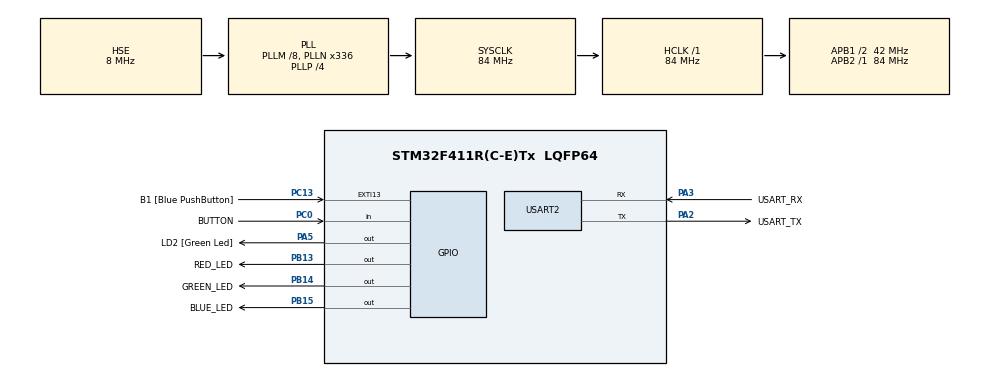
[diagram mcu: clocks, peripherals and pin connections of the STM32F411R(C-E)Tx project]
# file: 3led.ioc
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Mcu.Family=STM32F4
Mcu.Name=STM32F411R(C-E)Tx
Mcu.Package=LQFP64
NVIC.PriorityGroup=NVIC_PRIORITYGROUP_0
PA13.GPIO_Label=TMS
PA13.Mode=Serial_Wire
PA13.Signal=SYS_JTMS-SWDIO
PA14.GPIO_Label=TCK
PA14.Mode=Serial_Wire
PA14.Signal=SYS_JTCK-SWCLK
PA2.GPIO_Label=USART_TX
PA2.Mode=Asynchronous
PA2.Signal=USART2_TX
PA3.GPIO_Label=USART_RX
PA3.Mode=Asynchronous
PA3.Signal=USART2_RX
PA5.GPIO_Label=LD2 [Green Led]
PA5.Signal=GPIO_Output
PB13.GPIO_Label=RED_LED
PB13.PinState=GPIO_PIN_RESET
PB13.Signal=GPIO_Output
PB14.GPIO_Label=GREEN_LED
PB14.PinState=GPIO_PIN_RESET
PB14.Signal=GPIO_Output
PB15.GPIO_Label=BLUE_LED
PB15.PinState=GPIO_PIN_RESET
PB15.Signal=GPIO_Output
PB3.GPIO_Label=SWO
PB3.Signal=SYS_JTDO-SWO
PC0.GPIO_Label=BUTTON
PC0.Signal=GPIO_Input
PC13-ANTI_TAMP.GPIO_Label=B1 [Blue PushButton]
PC13-ANTI_TAMP.GPIO_ModeDefaultEXTI=GPIO_MODE_IT_FALLING
PC13-ANTI_TAMP.Signal=GPXTI13
PC14-OSC32_IN.Mode=LSE-External-Oscillator
PC14-OSC32_IN.Signal=RCC_OSC32_IN
PC15-OSC32_OUT.Mode=LSE-External-Oscillator
PC15-OSC32_OUT.Signal=RCC_OSC32_OUT
PH0\ -\ OSC_IN.Mode=HSE-External-Clock-Source
PH0\ -\ OSC_IN.Signal=RCC_OSC_IN
PH1\ -\ OSC_OUT.Mode=HSE-External-Clock-Source
PH1\ -\ OSC_OUT.Signal=RCC_OSC_OUT
ProjectManager.HeapSize=0x200
ProjectManager.StackSize=0x400
ProjectManager.TargetToolchain=STM32CubeIDE
RCC.48MHZClocksFreq_Value=84000000
RCC.AHBFreq_Value=84000000
RCC.APB1CLKDivider=RCC_HCLK_DIV2
RCC.APB1Freq_Value=42000000
RCC.APB1TimFreq_Value=84000000
RCC.APB2Freq_Value=84000000
RCC.APB2TimFreq_Value=84000000
RCC.CortexFreq_Value=84000000
RCC.FLatency-AdvancedSettings=FLASH_LATENCY_2
RCC.HCLKFreq_Value=84000000
RCC.HSE_VALUE=8000000
RCC.HSI_VALUE=16000000
RCC.PLLM=8
RCC.PLLN=336
RCC.PLLP=RCC_PLLP_DIV4
RCC.PLLSourceVirtual=RCC_PLLSOURCE_HSE
RCC.SYSCLKFreq_VALUE=84000000
RCC.SYSCLKSource=RCC_SYSCLKSOURCE_PLLCLK
RCC.VCOOutputFreq_Value=336000000
USART2.VirtualMode=VM_ASYNC
board=NUCLEO-F411RE

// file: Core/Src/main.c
/* USER CODE BEGIN Header */
/**
  ******************************************************************************
  * @file           : main.c
  * @brief          : Main program body
  ******************************************************************************
  * @attention
  *
  * Copyright (c) 2025 STMicroelectronics.
  * All rights reserved.
  *
  * This software is licensed under terms that can be found in the LICENSE file
  * in the root directory of this software component.
  * If no LICENSE file comes with this software, it is provided AS-IS.
  *
  ******************************************************************************
  */
/* USER CODE END Header */
#include "main.h"

/* USER CODE BEGIN Includes */
#include <stdio.h>
/* USER CODE END Includes */

/* USER CODE BEGIN PD */
uint8_t state;
#ifdef __GNUC__
/* With GCC, small printf (option LD Linker->Libraries->Small printf
   set to 'Yes') calls __io_putchar() */
#define PUTCHAR_PROTOTYPE int __io_putchar(int ch)
#else
#define PUTCHAR_PROTOTYPE int fputc(int ch, FILE *f)
#endif /* __GNUC__ */
/* USER CODE END PD */

UART_HandleTypeDef huart2;

void SystemClock_Config(void);
static void MX_GPIO_Init(void);
static void MX_USART2_UART_Init(void);

int main(void)
{

  /* MCU Configuration--------------------------------------------------------*/

  /* Reset of all peripherals, Initializes the Flash interface and the Systick. */
  HAL_Init();

  /* Configure the system clock */
  SystemClock_Config();

  /* Initialize all configured peripherals */
  MX_GPIO_Init();
  MX_USART2_UART_Init();

  /* Infinite loop */
  /* USER CODE BEGIN WHILE */
  while (1)
  {
	  if (HAL_GPIO_ReadPin(BUTTON_GPIO_Port,BUTTON_Pin))
	  {
		  state++;
		  state= state%3;
	  }
	  printf("%d/r/n",state);
	  switch(state)
	  {
	  case 0:
		  HAL_GPIO_WritePin(RED_LED_GPIO_Port,RED_LED_Pin,GPIO_PIN_SET);
		  HAL_GPIO_WritePin(BLUE_LED_GPIO_Port,BLUE_LED_Pin,GPIO_PIN_RESET);
		  break;
	  case 1:
		  HAL_GPIO_WritePin(GREEN_LED_GPIO_Port,GREEN_LED_Pin,GPIO_PIN_SET);
		  HAL_GPIO_WritePin(RED_LED_GPIO_Port,RED_LED_Pin,GPIO_PIN_RESET);
		  break;
	  case 2:
		  HAL_GPIO_WritePin(BLUE_LED_GPIO_Port,BLUE_LED_Pin,GPIO_PIN_SET);
		  HAL_GPIO_WritePin(GREEN_LED_GPIO_Port,GREEN_LED_Pin,GPIO_PIN_RESET);
		  break;
	  }
    /* USER CODE END WHILE */

  }
}

void SystemClock_Config(void)
{
  RCC_OscInitTypeDef RCC_OscInitStruct = {0};
  RCC_ClkInitTypeDef RCC_ClkInitStruct = {0};

  /** Configure the main internal regulator output voltage
  */
  __HAL_RCC_PWR_CLK_ENABLE();
  __HAL_PWR_VOLTAGESCALING_CONFIG(PWR_REGULATOR_VOLTAGE_SCALE1);

  /** Initializes the RCC Oscillators according to the specified parameters
  * in the RCC_OscInitTypeDef structure.
  */
  RCC_OscInitStruct.OscillatorType = RCC_OSCILLATORTYPE_HSE;
  RCC_OscInitStruct.HSEState = RCC_HSE_BYPASS;
  RCC_OscInitStruct.PLL.PLLState = RCC_PLL_ON;
  RCC_OscInitStruct.PLL.PLLSource = RCC_PLLSOURCE_HSE;
  RCC_OscInitStruct.PLL.PLLM = 8;
  RCC_OscInitStruct.PLL.PLLN = 336;
  RCC_OscInitStruct.PLL.PLLP = RCC_PLLP_DIV4;
  RCC_OscInitStruct.PLL.PLLQ = 4;
  if (HAL_RCC_OscConfig(&RCC_OscInitStruct) != HAL_OK)
  {
    Error_Handler();
  }

  /** Initializes the CPU, AHB and APB buses clocks
  */
  RCC_ClkInitStruct.ClockType = RCC_CLOCKTYPE_HCLK|RCC_CLOCKTYPE_SYSCLK
                              |RCC_CLOCKTYPE_PCLK1|RCC_CLOCKTYPE_PCLK2;
  RCC_ClkInitStruct.SYSCLKSource = RCC_SYSCLKSOURCE_PLLCLK;
  RCC_ClkInitStruct.AHBCLKDivider = RCC_SYSCLK_DIV1;
  RCC_ClkInitStruct.APB1CLKDivider = RCC_HCLK_DIV2;
  RCC_ClkInitStruct.APB2CLKDivider = RCC_HCLK_DIV1;

  if (HAL_RCC_ClockConfig(&RCC_ClkInitStruct, FLASH_LATENCY_2) != HAL_OK)
  {
    Error_Handler();
  }
}

static void MX_USART2_UART_Init(void)
{

  huart2.Instance = USART2;
  huart2.Init.BaudRate = 115200;
  huart2.Init.WordLength = UART_WORDLENGTH_8B;
  huart2.Init.StopBits = UART_STOPBITS_1;
  huart2.Init.Parity = UART_PARITY_NONE;
  huart2.Init.Mode = UART_MODE_TX_RX;
  huart2.Init.HwFlowCtl = UART_HWCONTROL_NONE;
  huart2.Init.OverSampling = UART_OVERSAMPLING_16;
  if (HAL_UART_Init(&huart2) != HAL_OK)
  {
    Error_Handler();
  }

}

static void MX_GPIO_Init(void)
{
  GPIO_InitTypeDef GPIO_InitStruct = {0};

  /* GPIO Ports Clock Enable */
  __HAL_RCC_GPIOC_CLK_ENABLE();
  __HAL_RCC_GPIOH_CLK_ENABLE();
  __HAL_RCC_GPIOA_CLK_ENABLE();
  __HAL_RCC_GPIOB_CLK_ENABLE();

  /*Configure GPIO pin Output Level */
  HAL_GPIO_WritePin(LD2_GPIO_Port, LD2_Pin, GPIO_PIN_RESET);

  /*Configure GPIO pin Output Level */
  HAL_GPIO_WritePin(GPIOB, RED_LED_Pin|GREEN_LED_Pin|BLUE_LED_Pin, GPIO_PIN_RESET);

  /*Configure GPIO pin : B1_Pin */
  GPIO_InitStruct.Pin = B1_Pin;
  GPIO_InitStruct.Mode = GPIO_MODE_IT_FALLING;
  GPIO_InitStruct.Pull = GPIO_NOPULL;
  HAL_GPIO_Init(B1_GPIO_Port, &GPIO_InitStruct);

  /*Configure GPIO pin : BUTTON_Pin */
  GPIO_InitStruct.Pin = BUTTON_Pin;
  GPIO_InitStruct.Mode = GPIO_MODE_INPUT;
  GPIO_InitStruct.Pull = GPIO_NOPULL;
  HAL_GPIO_Init(BUTTON_GPIO_Port, &GPIO_InitStruct);

  /*Configure GPIO pin : LD2_Pin */
  GPIO_InitStruct.Pin = LD2_Pin;
  GPIO_InitStruct.Mode = GPIO_MODE_OUTPUT_PP;
  GPIO_InitStruct.Pull = GPIO_NOPULL;
  GPIO_InitStruct.Speed = GPIO_SPEED_FREQ_LOW;
  HAL_GPIO_Init(LD2_GPIO_Port, &GPIO_InitStruct);

  /*Configure GPIO pins : RED_LED_Pin GREEN_LED_Pin BLUE_LED_Pin */
  GPIO_InitStruct.Pin = RED_LED_Pin|GREEN_LED_Pin|BLUE_LED_Pin;
  GPIO_InitStruct.Mode = GPIO_MODE_OUTPUT_PP;
  GPIO_InitStruct.Pull = GPIO_NOPULL;
  GPIO_InitStruct.Speed = GPIO_SPEED_FREQ_LOW;
  HAL_GPIO_Init(GPIOB, &GPIO_InitStruct);

}

/* USER CODE BEGIN 4 */
/**
  * @brief  Retargets the C library printf function to the USART.
  * @param  None
  * @retval None
  */
PUTCHAR_PROTOTYPE
{
  /* Place your implementation of fputc here */
  /* e.g. write a character to the USART6 and Loop until the end of transmission */
  HAL_UART_Transmit(&huart2, (uint8_t *)&ch, 1, 0xFFFF);

  return ch;
}
/* USER CODE END 4 */

void Error_Handler(void)
{
  __disable_irq();
  while (1)
  {
  }
}
